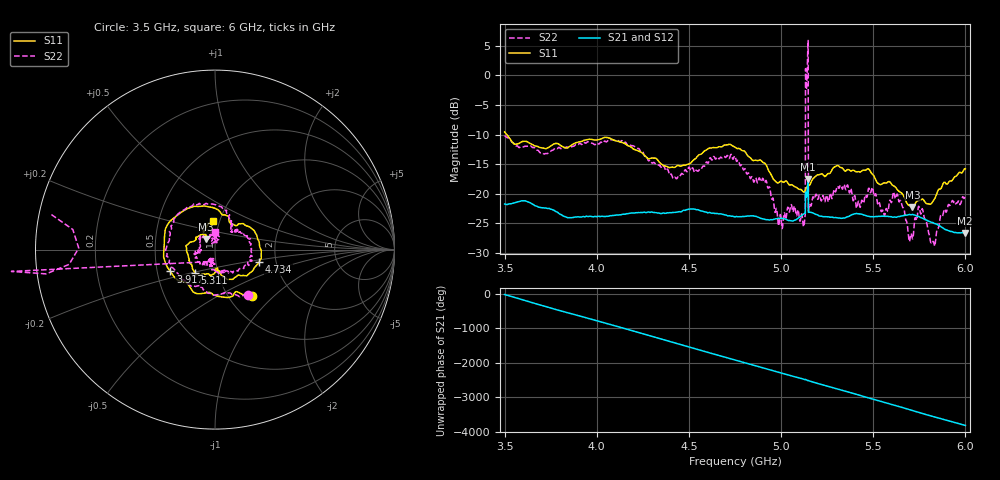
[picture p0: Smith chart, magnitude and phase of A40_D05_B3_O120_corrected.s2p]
! Created with skrf 1.9.0 (http://scikit-rf.org).
# Hz S RI R 50.0
!freq ReS11 ImS11 ReS21 ImS21 ReS12 ImS12 ReS22 ImS22
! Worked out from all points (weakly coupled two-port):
!   1601 points, 3.5 GHz to 6 GHz, reference 50 ohm
!   highest |S21| = -17.51 dB at 5.147 GHz (marker M1); lowest = -26.6 dB at 5.995 GHz (marker M2)
!   lowest |S11| = -22.2 dB at 5.713 GHz (marker M3), VSWR 1.17, Z = 44.9 + j5.28 ohm
!   |S11| at or under -10 dB: 3.513 GHz to end of sweep
!   |S22| runs from -28.8 to 5.9 dB; largest |S21 - S12| = 0.0014
!   S11 on the Smith chart (normalised r, x): 3.5 GHz: 1.27, -0.75; 3.917 GHz: 0.59, -0.15; 4.734 GHz: 1.63, -0.24; 5.311 GHz: 0.78, -0.21; 6 GHz: 0.93, +0.31
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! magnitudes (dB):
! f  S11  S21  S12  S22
! 3.5 GHz  -9.6  -21.7  -21.7  -10.2
! 3.917 GHz  -11.2  -23.9  -23.9  -11.7
! 4.334 GHz  -14.5  -23.2  -23.2  -15.1
! 4.734 GHz  -11.9  -23.8  -23.8  -13.8
! 4.75 GHz  -12.1  -23.9  -23.8  -13.7
! 4.927 GHz  -15.7  -24.4  -24.3  -18.8
! 4.995 GHz  -17.9  -24.1  -24.0  -23.5
! 5.114 GHz  -19.4  -23.6  -23.5  -23.6
! 5.119 GHz  -19.6  -23.5  -23.4  -25.0
! 5.134 GHz  -19.1  -20.2  -20.1  -0.4
! 5.147 GHz  -18.7  -17.5  -17.5  5.9
! 5.161 GHz  -18.2  -23.1  -23.0  -22.1
! 5.167 GHz  -17.7  -23.2  -23.1  -21.3
! 5.311 GHz  -15.3  -24.1  -24.0  -19.0
! 5.584 GHz  -17.9  -23.8  -23.8  -22.1
! 5.638 GHz  -19.5  -23.8  -23.8  -21.1
! 5.713 GHz  -22.2  -23.5  -23.4  -27.6
! 5.756 GHz  -21.0  -24.0  -23.9  -23.3
! 5.827 GHz  -21.1  -24.9  -24.9  -28.1
! 5.877 GHz  -18.5  -25.7  -25.6  -23.7
! 5.995 GHz  -15.8  -26.6  -26.5  -20.7
! 6 GHz  -15.8  -26.6  -26.5  -20.1
